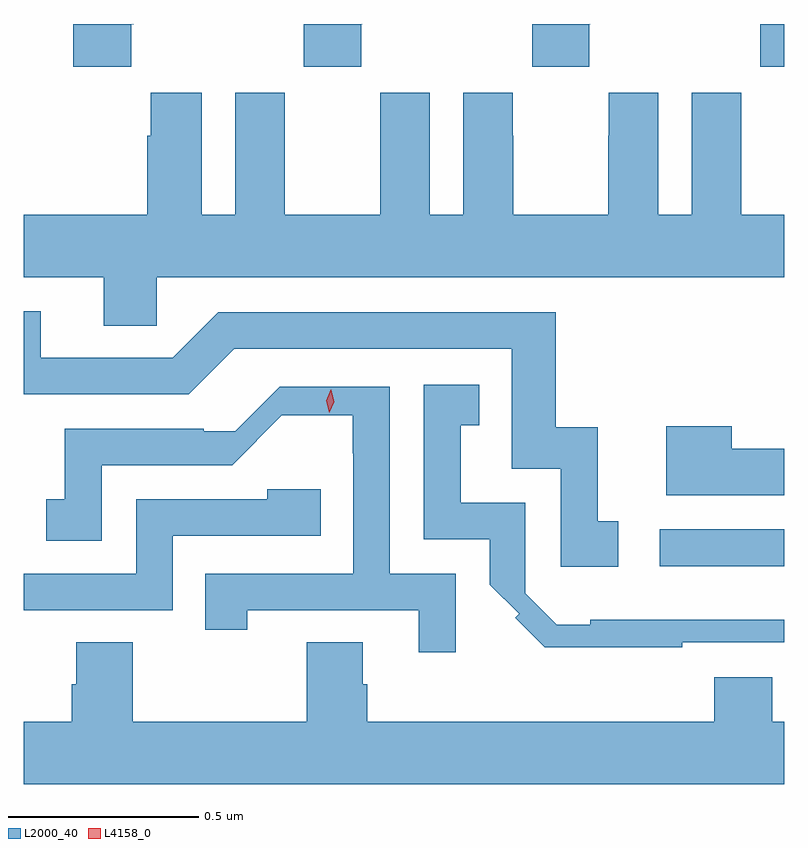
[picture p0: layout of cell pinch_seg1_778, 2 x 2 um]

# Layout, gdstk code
import gdstk
lib = gdstk.Library(unit=1e-6, precision=1e-09)
def R(c, l, rs):  # rectangles x0, y0, x1, y1
    for r in rs: c.add(gdstk.rectangle(r[:2], r[2:], *l))
def P(c, l, *ps):  # polygons
    for p in ps: c.add(gdstk.Polygon(p, *l))
L2000_40 = (2000, 40)
L4158_0 = (4158, 0)

pinch_seg1_778 = lib.new_cell('pinch_seg1_778')
R(pinch_seg1_778, L2000_40, [(864.849,504.353,865.176,504.45)])
P(pinch_seg1_778, L2000_40, [(864.063,505.777),(864.066,505.777),(864.066,505.778),(863.911,505.778),(863.911,505.777),(863.913,505.777),(863.913,505.665),(864.063,505.665)],
  [(864.663,505.777),(864.666,505.777),(864.666,505.778),(864.511,505.778),(864.511,505.777),(864.513,505.777),(864.513,505.665),(864.663,505.665)],
  [(865.176,505.778),(865.111,505.778),(865.111,505.777),(865.113,505.777),(865.113,505.665),(865.176,505.665)],
  [(863.459,505.777),(863.466,505.777),(863.466,505.778),(863.306,505.778),(863.306,505.665),(863.459,505.665)],
  [(865.176,505.276),(865.063,505.276),(865.063,505.484),(865.062,505.484),(865.062,505.597),(864.932,505.597),(864.932,505.276),(864.844,505.276),(864.844,505.597),(864.714,505.597),(864.714,505.484),(864.713,505.484),(864.713,505.276),(864.463,505.276),(864.463,505.484),(864.462,505.484),(864.462,505.597),(864.332,505.597),(864.332,505.276),(864.244,505.276),(864.244,505.597),(864.114,505.597),(864.114,505.484),(864.113,505.484),(864.113,505.276),(863.863,505.276),(863.863,505.484),(863.862,505.484),(863.862,505.597),(863.732,505.597),(863.732,505.276),(863.644,505.276),(863.644,505.597),(863.51,505.597),(863.51,505.484),(863.501,505.484),(863.501,505.276),(863.176,505.276),(863.176,505.112),(863.387,505.112),(863.387,504.985),(863.526,504.985),(863.526,505.112),(865.176,505.112)],
  [(864.739,504.471),(864.686,504.471),(864.686,504.718),(864.575,504.718),(864.575,505.02),(863.688,505.02),(863.568,504.9),(863.221,504.9),(863.221,505.023),(863.176,505.023),(863.176,504.804),(863.61,504.804),(863.73,504.924),(864.459,504.924),(864.459,504.609),(864.588,504.609),(864.588,504.351),(864.739,504.351)],
  [(864.908,504.153),(865.176,504.153),(865.176,504.212),(864.665,504.212),(864.665,504.199),(864.577,504.199),(864.495,504.281),(864.495,504.519),(864.325,504.519),(864.325,504.723),(864.374,504.723),(864.374,504.829),(864.228,504.829),(864.228,504.423),(864.402,504.423),(864.402,504.304),(864.479,504.227),(864.469,504.217),(864.546,504.14),(864.908,504.14)],
  [(864.312,504.333),(864.138,504.333),(864.138,504.825),(863.85,504.825),(863.733,504.708),(863.649,504.708),(863.649,504.714),(863.284,504.714),(863.284,504.529),(863.235,504.529),(863.235,504.42),(863.382,504.42),(863.382,504.618),(863.724,504.618),(863.855,504.749),(864.041,504.749),(864.041,504.649),(864.042,504.649),(864.042,504.333),(863.653,504.333),(863.653,504.186),(863.764,504.186),(863.764,504.237),(864.215,504.237),(864.215,504.126),(864.312,504.126)],
  [(865.176,504.661),(865.037,504.661),(865.037,504.721),(864.866,504.721),(864.866,504.539),(865.176,504.539)],
  [(863.568,504.432),(863.957,504.432),(863.957,504.555),(863.817,504.555),(863.817,504.528),(863.472,504.528),(863.472,504.333),(863.176,504.333),(863.176,504.237),(863.568,504.237)],
  [(865.176,503.944),(865.144,503.944),(865.144,504.061),(864.992,504.061),(864.992,503.944),(864.08,503.944),(864.08,504.042),(864.067,504.042),(864.067,504.152),(863.92,504.152),(863.92,503.944),(863.463,503.944),(863.463,504.152),(863.315,504.152),(863.315,504.042),(863.303,504.042),(863.303,503.944),(863.176,503.944),(863.176,503.78),(865.176,503.78)])
P(pinch_seg1_778, L4158_0, [(863.98,504.756),(863.98,504.756),(863.972,504.787),(863.984,504.816),(863.985,504.816),(863.985,504.816),(863.992,504.785),(863.98,504.756)])

lib.write_gds('pinch_seg1_778.gds')
